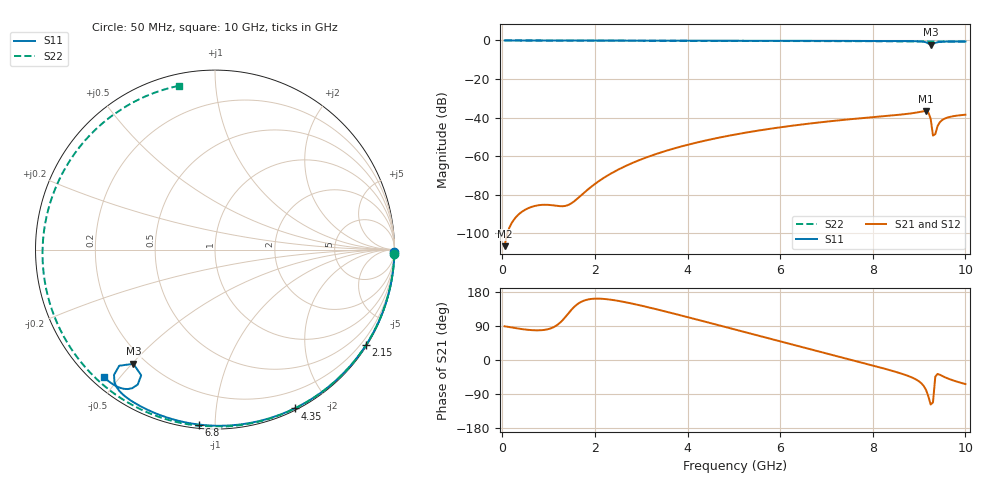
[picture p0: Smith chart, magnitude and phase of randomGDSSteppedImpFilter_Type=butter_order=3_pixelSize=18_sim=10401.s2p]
! freq	dB(S11)	phase(S11)	dB(S12)	phase(S12)
!  dB(S21)	phase(S21)	dB(S22)	phase(S22)
!S-par simulation data
#  GHz  S  DB  R 50
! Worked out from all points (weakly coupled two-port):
!   200 points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, 50 MHz to 10 GHz, reference 50 ohm
!   highest |S21| = -36.61 dB at 9.15 GHz (marker M1); lowest = -106.6 dB at 50 MHz (marker M2)
!   lowest |S11| = -2.1 dB at 9.25 GHz (marker M3), VSWR 8.18, Z = 7.7 - j25.2 ohm
!   |S11| at or under -10 dB: nowhere
!   |S22| runs from -0.6 to 0.0 dB; largest |S21 - S12| = 0
!   S11 on the Smith chart (normalised r, x): 50 MHz: open; 2.15 GHz: 0.03, -3.45; 4.35 GHz: 0.02, -1.62; 6.8 GHz: 0.02, -0.91; 10 GHz: 0.04, -0.46
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0.05  -0.00 -0.8  -106.59 89.0  -106.59 89.0  -0.00 -1.4
0.85  -0.02 -12.9  -85.20 78.7  -85.20 78.7  -0.03 -23.9
1.75  -0.03 -26.4  -79.24 156.0  -79.24 156.0  -0.06 -48.6
2.15  -0.04 -32.3  -71.85 161.6  -71.85 161.6  -0.07 -59.2
2.7  -0.05 -40.3  -64.64 151.5  -64.64 151.5  -0.09 -73.5
3.4  -0.07 -50.3  -58.22 131.8  -58.22 131.8  -0.12 -91.1
4.35  -0.09 -63.4  -52.06 102.1  -52.06 102.1  -0.16 -114.0
5.05  -0.11 -72.8  -48.65 79.7  -48.65 79.7  -0.20 -130.5
5.9  -0.14 -83.8  -45.35 52.4  -45.35 52.4  -0.25 -150.3
6.7  -0.18 -93.9  -42.87 27.0  -42.87 27.0  -0.31 -169.1
6.8  -0.19 -95.1  -42.60 23.8  -42.60 23.8  -0.32 -171.5
7.6  -0.23 -105.0  -40.62 -1.6  -40.62 -1.6  -0.39 168.9
8.35  -0.29 -114.3  -39.00 -26.2  -39.00 -26.2  -0.46 149.5
8.95  -0.41 -123.3  -37.34 -52.5  -37.34 -52.5  -0.51 133.1
9.15  -0.95 -128.9  -36.61 -79.1  -36.61 -79.1  -0.53 127.5
9.2  -1.53 -129.5  -37.28 -95.8  -37.28 -95.8  -0.54 126.0
9.25  -2.14 -125.6  -40.57 -117.4  -40.57 -117.4  -0.54 124.6
9.3  -1.81 -120.4  -49.25 -111.9  -49.25 -111.9  -0.54 123.2
9.35  -1.24 -119.8  -48.54 -44.0  -48.54 -44.0  -0.54 121.8
9.4  -0.92 -120.8  -44.28 -36.8  -44.28 -36.8  -0.55 120.3
9.5  -0.66 -123.2  -41.22 -42.2  -41.22 -42.2  -0.55 117.4
10  -0.51 -131.0  -38.48 -63.5  -38.48 -63.5  -0.59 102.3
